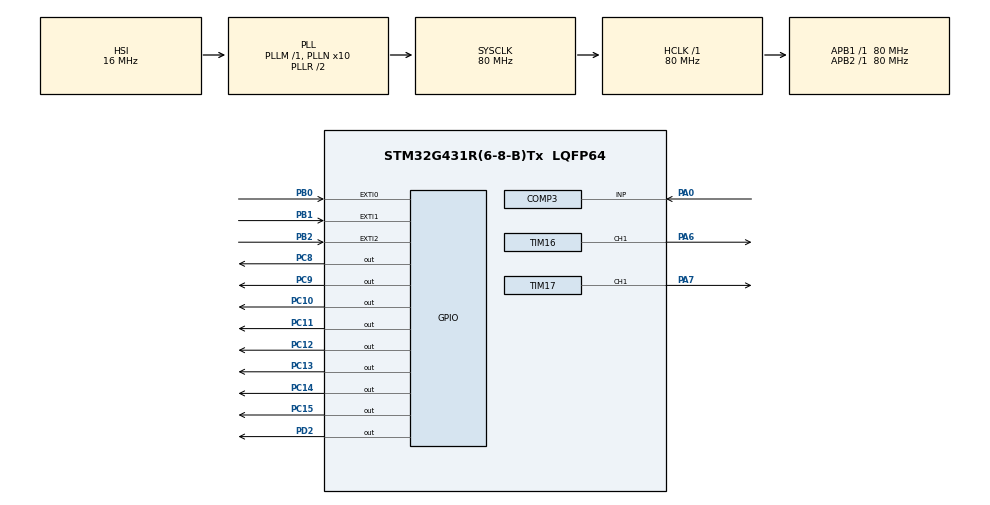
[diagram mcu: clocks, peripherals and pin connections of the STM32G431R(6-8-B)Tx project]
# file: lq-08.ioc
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COMP3.TriggerMode=COMP_TRIGGERMODE_IT_FALLING
Mcu.Family=STM32G4
Mcu.Name=STM32G431R(6-8-B)Tx
Mcu.Package=LQFP64
NVIC.COMP1_2_3_IRQn=true\:0\:0\:false\:false\:true\:false\:true\:true
NVIC.EXTI0_IRQn=true\:0\:0\:false\:false\:true\:true\:true\:true
NVIC.EXTI1_IRQn=true\:0\:0\:false\:false\:true\:true\:true\:true
NVIC.EXTI2_IRQn=true\:0\:0\:false\:false\:true\:true\:true\:true
NVIC.PriorityGroup=NVIC_PRIORITYGROUP_4
PA0.Mode=INP
PA0.Signal=COMP3_INP
PA13.Mode=Serial_Wire
PA13.Signal=SYS_JTMS-SWDIO
PA14.Mode=Serial_Wire
PA14.Signal=SYS_JTCK-SWCLK
PA6.Signal=S_TIM16_CH1
PA7.Signal=S_TIM17_CH1
PB0.Signal=GPXTI0
PB1.Signal=GPXTI1
PB2.Signal=GPXTI2
PC10.PinState=GPIO_PIN_SET
PC10.Signal=GPIO_Output
PC11.GPIO_Speed=GPIO_SPEED_FREQ_LOW
PC11.PinState=GPIO_PIN_SET
PC11.Signal=GPIO_Output
PC12.PinState=GPIO_PIN_SET
PC12.Signal=GPIO_Output
PC13.PinState=GPIO_PIN_SET
PC13.Signal=GPIO_Output
PC14-OSC32_IN.PinState=GPIO_PIN_SET
PC14-OSC32_IN.Signal=GPIO_Output
PC15-OSC32_OUT.PinState=GPIO_PIN_SET
PC15-OSC32_OUT.Signal=GPIO_Output
PC8.PinState=GPIO_PIN_SET
PC8.Signal=GPIO_Output
PC9.PinState=GPIO_PIN_SET
PC9.Signal=GPIO_Output
PD2.PinState=GPIO_PIN_RESET
PD2.Signal=GPIO_Output
PF0-OSC_IN.Mode=HSE-External-Oscillator
PF0-OSC_IN.Signal=RCC_OSC_IN
PF1-OSC_OUT.Mode=HSE-External-Oscillator
PF1-OSC_OUT.Signal=RCC_OSC_OUT
ProjectManager.HeapSize=0x200
ProjectManager.StackSize=0x400
ProjectManager.TargetToolchain=MDK-ARM V5
RCC.ADC12Freq_Value=80000000
RCC.AHBFreq_Value=80000000
RCC.APB1Freq_Value=80000000
RCC.APB1TimFreq_Value=80000000
RCC.APB2Freq_Value=80000000
RCC.APB2TimFreq_Value=80000000
RCC.CortexFreq_Value=80000000
RCC.EXTERNAL_CLOCK_VALUE=12288000
RCC.HCLKFreq_Value=80000000
RCC.HSE_VALUE=8000000
RCC.HSI48_VALUE=48000000
RCC.HSI_VALUE=16000000
RCC.PLLN=10
RCC.SYSCLKFreq_VALUE=80000000
RCC.SYSCLKSource=RCC_SYSCLKSOURCE_PLLCLK
RCC.USBFreq_Value=80000000
RCC.VCOOutputFreq_Value=160000000
RTC.AsynchPrediv=127
RTC.SynchPrediv=249
SH.S_TIM16_CH1.0=TIM16_CH1,PWM Generation1 CH1
SH.S_TIM17_CH1.0=TIM17_CH1,PWM Generation1 CH1
TIM16.AutoReloadPreload=TIM_AUTORELOAD_PRELOAD_ENABLE
TIM16.Channel=TIM_CHANNEL_1
TIM16.PeriodNoDither=999
TIM16.Prescaler=79
TIM17.AutoReloadPreload=TIM_AUTORELOAD_PRELOAD_ENABLE
TIM17.Channel=TIM_CHANNEL_1
TIM17.PeriodNoDither=999
TIM17.Prescaler=39
TIM6.AutoReloadPreload=TIM_AUTORELOAD_PRELOAD_ENABLE
TIM6.PeriodNoDither=9999
TIM6.Prescaler=7999
VP_COMP3_VS_VREFINT.Mode=VREFINT
VP_RTC_VS_RTC_Activate.Mode=RTC_Enabled
VP_RTC_VS_RTC_Calendar.Mode=RTC_Calendar
VP_SYS_VS_DBSignals.Mode=DisableDeadBatterySignals
VP_TIM16_VS_ClockSourceINT.Mode=Enable_Timer
VP_TIM17_VS_ClockSourceINT.Mode=Enable_Timer
VP_TIM6_VS_ClockSourceINT.Mode=Enable_Timer
board=custom

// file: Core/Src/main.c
/* USER CODE BEGIN Header */
/**
  ******************************************************************************
  * @file           : main.c
  * @brief          : Main program body
  ******************************************************************************
  * @attention
  *
  * Copyright (c) 2023 STMicroelectronics.
  * All rights reserved.
  *
  * This software is licensed under terms that can be found in the LICENSE file
  * in the root directory of this software component.
  * If no LICENSE file comes with this software, it is provided AS-IS.
  *
  ******************************************************************************
  */
/* USER CODE END Header */
#include "main.h"
#include "comp.h"
#include "rtc.h"
#include "tim.h"
#include "gpio.h"

/* USER CODE BEGIN Includes */

#include <stdio.h>
#include <stdbool.h>
#include <stdarg.h>
#include <string.h>
#include "lcd.h"

/* USER CODE END Includes */

/* USER CODE BEGIN PTD */

typedef void *Func();

typedef struct {
	bool active;
	uint8_t delay;
	Func *invoke;
	void *then;
} DelayedAction;

/* USER CODE END PTD */

/* USER CODE BEGIN PM */

#define ld(x, s)					HAL_GPIO_WritePin(GPIOC, 0x0080 << x, s);\
													HAL_GPIO_WritePin(GPIOD, GPIO_PIN_2, GPIO_PIN_SET);\
													HAL_GPIO_WritePin(GPIOD, GPIO_PIN_2, GPIO_PIN_RESET)
#define kdown(x)					((x == 4 ? HAL_GPIO_ReadPin(GPIOA, GPIO_PIN_0) : HAL_GPIO_ReadPin(GPIOB, 1 << (x - 1))) == GPIO_PIN_RESET)

/* USER CODE END PM */

/* USER CODE BEGIN PV */

bool 					b1d				= false;
bool 					b2d				= false;
bool 					b3d				= false;
bool 					b4d				= false;
bool					arrive		= false;
bool					tgt[4]		= {0};
int8_t				dir				= 0;
uint8_t 			level			= 1;
uint8_t				buf[32]		= {0};
DelayedAction delays[9] = {0};
DelayedAction empty;
RTC_TimeTypeDef time;

/* USER CODE END PV */

void SystemClock_Config(void);
/* USER CODE BEGIN PFP */

void HAL_COMP_TriggerCallback(COMP_HandleTypeDef *);
void HAL_GPIO_EXTI_Callback(uint16_t);
void HAL_TIM_PeriodElapsedCallback(TIM_HandleTypeDef *);

void updTime(void);
void updLvl(void);
void arriveAt(uint8_t);
uint8_t *format(char *fmt, ...);

/* USER CODE END PFP */

int main(void)
{
  /* USER CODE BEGIN 1 */
	empty.active = false;
	empty.delay  = 0;
	empty.invoke = NULL;
	empty.then	 = NULL;

  /* USER CODE END 1 */

  /* MCU Configuration--------------------------------------------------------*/

  /* Reset of all peripherals, Initializes the Flash interface and the Systick. */
  HAL_Init();

  /* Configure the system clock */
  SystemClock_Config();

  /* Initialize all configured peripherals */
  MX_GPIO_Init();
  MX_COMP3_Init();
  MX_RTC_Init();
  MX_TIM16_Init();
  MX_TIM17_Init();
  MX_TIM6_Init();
  /* USER CODE BEGIN 2 */

	HAL_COMP_Start(&hcomp3);

	HAL_TIM_Base_Start_IT(&htim6);

	LCD_Init();
	LCD_SetBackColor(Black);
	LCD_SetTextColor(White);
	LCD_Clear(Black);
	LCD_DisplayStringLine(Line2, (uint8_t *)"????");

//	HAL_GPIO_WritePin(GPIOD, GPIO_PIN_2, GPIO_PIN_SET);

  /* USER CODE END 2 */

  /* Infinite loop */
  /* USER CODE BEGIN WHILE */
  while (1)
  {
		if(arrive) {
			HAL_GPIO_WritePin(GPIOC, 0x0080 << level | GPIO_PIN_12 | GPIO_PIN_13 | GPIO_PIN_14 | GPIO_PIN_15, GPIO_PIN_SET);
			//off
			HAL_Delay(250);
			//on
			HAL_Delay(250);
			//off
			HAL_Delay(250);
			//on
		}
		updTime();
		if(dir == 1) {

			continue;
		}
		if(dir == -1) {

			continue;
		}

    /* USER CODE END WHILE */

  }
}

void SystemClock_Config(void)
{
  RCC_OscInitTypeDef RCC_OscInitStruct = {0};
  RCC_ClkInitTypeDef RCC_ClkInitStruct = {0};

  /** Configure the main internal regulator output voltage
  */
  HAL_PWREx_ControlVoltageScaling(PWR_REGULATOR_VOLTAGE_SCALE1);

  /** Initializes the RCC Oscillators according to the specified parameters
  * in the RCC_OscInitTypeDef structure.
  */
  RCC_OscInitStruct.OscillatorType = RCC_OSCILLATORTYPE_HSI|RCC_OSCILLATORTYPE_LSI;
  RCC_OscInitStruct.HSIState = RCC_HSI_ON;
  RCC_OscInitStruct.HSICalibrationValue = RCC_HSICALIBRATION_DEFAULT;
  RCC_OscInitStruct.LSIState = RCC_LSI_ON;
  RCC_OscInitStruct.PLL.PLLState = RCC_PLL_ON;
  RCC_OscInitStruct.PLL.PLLSource = RCC_PLLSOURCE_HSI;
  RCC_OscInitStruct.PLL.PLLM = RCC_PLLM_DIV1;
  RCC_OscInitStruct.PLL.PLLN = 10;
  RCC_OscInitStruct.PLL.PLLP = RCC_PLLP_DIV2;
  RCC_OscInitStruct.PLL.PLLQ = RCC_PLLQ_DIV2;
  RCC_OscInitStruct.PLL.PLLR = RCC_PLLR_DIV2;
  if (HAL_RCC_OscConfig(&RCC_OscInitStruct) != HAL_OK)
  {
    Error_Handler();
  }

  /** Initializes the CPU, AHB and APB buses clocks
  */
  RCC_ClkInitStruct.ClockType = RCC_CLOCKTYPE_HCLK|RCC_CLOCKTYPE_SYSCLK
                              |RCC_CLOCKTYPE_PCLK1|RCC_CLOCKTYPE_PCLK2;
  RCC_ClkInitStruct.SYSCLKSource = RCC_SYSCLKSOURCE_PLLCLK;
  RCC_ClkInitStruct.AHBCLKDivider = RCC_SYSCLK_DIV1;
  RCC_ClkInitStruct.APB1CLKDivider = RCC_HCLK_DIV1;
  RCC_ClkInitStruct.APB2CLKDivider = RCC_HCLK_DIV1;

  if (HAL_RCC_ClockConfig(&RCC_ClkInitStruct, FLASH_LATENCY_2) != HAL_OK)
  {
    Error_Handler();
  }
}

/* USER CODE BEGIN 4 */

void HAL_COMP_TriggerCallback(COMP_HandleTypeDef *hcomp) { //b4
	if(level == 4 || tgt[3]) return;
	HAL_Delay(20);
	if(!kdown(4)) return;
	tgt[3] = true;
	ld(4, 0);
}

void HAL_GPIO_EXTI_Callback(uint16_t pin) {
	switch(pin) {
		case GPIO_PIN_0: //b1
			if(level == 1 || tgt[0]) return;
			HAL_Delay(20);
			if(!kdown(1)) return;
			tgt[0] = true;
			ld(1, 0);
			break;
		case GPIO_PIN_1: //b2
			if(level == 2 || tgt[1]) return;
			HAL_Delay(20);
			if(!kdown(2)) return;
			tgt[1] = true;
			ld(2, 0);
			break;
		case GPIO_PIN_2: //b3
			if(level == 3 || tgt[2]) return;
			HAL_Delay(20);
			if(!kdown(3)) return;
			tgt[2] = true;
			ld(3, 0);
			break;
	}
}

void updTime() {
	HAL_RTC_GetTime(&hrtc, &time, RTC_FORMAT_BCD);
	LCD_DisplayStringLine(Line7, format("    %2d : %2d : %2d", time.Hours, time.Minutes, time.Seconds));
}

void arriveAt(uint8_t l) {
	level = l;
	tgt[l] = false;
	arrive = true;
}

uint8_t *format(char *fmt, ...) {
	va_list ap;
	va_start(ap, fmt);
	memset(buf, 0, 32);
	vsprintf(buf, fmt, ap);
	return buf;
}

void HAL_TIM_PeriodElapsedCallback(TIM_HandleTypeDef *htim) {
	if(htim->Instance == TIM6) {
		for(int i = 0; i < 9; i++) {
			if(!delays[i].active) continue;
			if(!--delays[i].delay) {
				delays[i].invoke();
				if(delays[i].then != NULL) {
					((DelayedAction *)(delays[i].then))->active = true;
					delays[i] = empty;
				}
			}
		}

	}
}

/* USER CODE END 4 */

void Error_Handler(void)
{
  __disable_irq();
  while (1)
  {
  }
}
